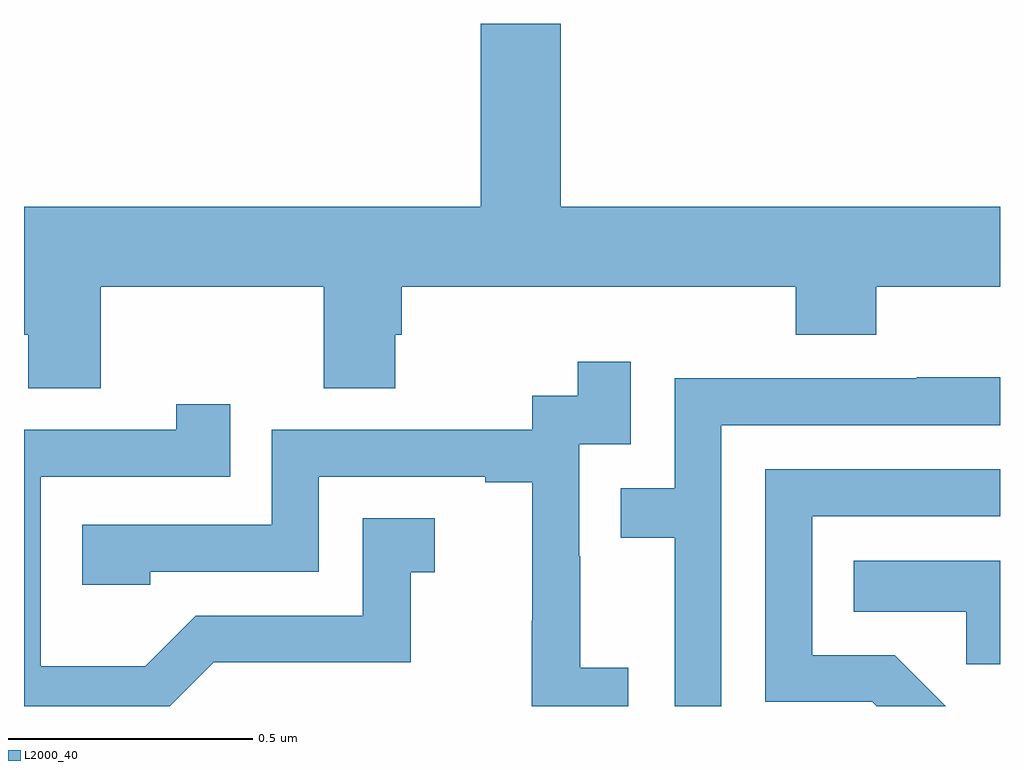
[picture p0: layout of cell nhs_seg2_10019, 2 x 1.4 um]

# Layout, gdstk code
import gdstk
lib = gdstk.Library(unit=1e-6, precision=1e-09)
def P(c, l, *ps):  # polygons
    for p in ps: c.add(gdstk.Polygon(p, *l))
L2000_40 = (2000, 40)

nhs_seg2_10019 = lib.new_cell('nhs_seg2_10019')
P(nhs_seg2_10019, L2000_40, [(236.157,623.66),(236.614,623.66),(236.614,623.452),(236.761,623.452),(236.761,623.562),(236.774,623.562),(236.774,623.66),(237.581,623.66),(237.581,623.561),(237.746,623.561),(237.746,623.66),(238,623.66),(238,623.824),(237.1,623.824),(237.1,624.199),(236.936,624.199),(236.936,623.824),(236,623.824),(236,623.562),(236.009,623.562),(236.009,623.452),(236.157,623.452)],
  [(237.238,622.879),(237.14,622.879),(237.14,623.108),(237.138,623.108),(237.138,623.337),(237.243,623.337),(237.243,623.506),(237.135,623.506),(237.135,623.436),(237.042,623.436),(237.042,623.367),(236.508,623.367),(236.508,623.172),(236.119,623.172),(236.119,623.049),(236.259,623.049),(236.259,623.076),(236.604,623.076),(236.604,623.271),(236.945,623.271),(236.945,623.259),(237.041,623.259),(237.041,622.975),(237.04,622.975),(237.04,622.8),(237.238,622.8)],
  [(237.429,623.376),(238,623.376),(238,623.474),(237.829,623.474),(237.829,623.472),(237.333,623.472),(237.333,623.247),(237.223,623.247),(237.223,623.146),(237.333,623.146),(237.333,622.8),(237.429,622.8)],
  [(236.389,622.89),(236.793,622.89),(236.793,623.075),(236.842,623.075),(236.842,623.185),(236.694,623.185),(236.694,622.986),(236.352,622.986),(236.248,622.882),(236.034,622.882),(236.034,623.271),(236.423,623.271),(236.423,623.419),(236.312,623.419),(236.312,623.367),(236,623.367),(236,622.8),(236.299,622.8)],
  [(237.784,622.905),(237.615,622.905),(237.615,623.19),(238,623.19),(238,623.286),(237.519,623.286),(237.519,622.809),(237.738,622.809),(237.747,622.8),(237.889,622.8)],
  [(238,623.098),(237.7,623.098),(237.7,622.994),(237.931,622.994),(237.931,622.886),(238,622.886)])

lib.write_gds('nhs_seg2_10019.gds')
